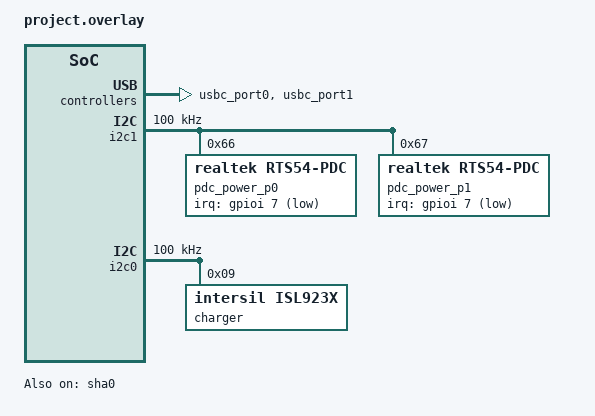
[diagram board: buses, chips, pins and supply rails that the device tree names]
/* Copyright 2025 The ChromiumOS Authors
 * Use of this source code is governed by a BSD-style license that can be
 * found in the LICENSE file.
 */

 #include <cros/cbi_flash.dtsi>
 #include <usbc-policy.dtsi>
 #include "binman.dtsi"

/ {
	aliases {
		gpio-wp = &ec_wp_l;
	};

	named-gpios {
		compatible = "named-gpios";

		ec_wp_l: write-protect {
			gpios = <&gpioa 0 GPIO_INPUT>;
		};
		/* unimplemented GPIOs */
		entering-rw {
			enum-name = "GPIO_ENTERING_RW";
		};

		gpio_acok_ec_od: ac_present {
			/* AC_IN_SW/STD_ADPT_CNTL_GPIO_R */
			gpios = <&gpioe 5 GPIO_INPUT>;
			enum-name = "GPIO_AC_PRESENT";
		};
	};

	gpio_interrupts: gpio-interrupts {
		compatible = "cros-ec,gpio-interrupts";

		int_ac_present: ac_present {
			irq-pin = <&gpio_acok_ec_od>;
			flags = <GPIO_INT_EDGE_BOTH>;
			handler = "extpower_interrupt";
		};
	};

	named-i2c-ports {
		compatible = "named-i2c-ports";

		i2c_ec_i2c_charger: ec_i2c_charger {
			i2c-port = <&i2c0>;
			enum-names = "I2C_PORT_BATTERY";
		};

		i2c_ec_i2c_pd_prog: ec_i2c_pd_prog {
			i2c-port = <&i2c1>;
			enum-names = "I2C_PORT_PD";
		};
	};

	usbc {
		#address-cells = <1>;
		#size-cells = <0>;
		usbc_port0: port0@0 {
			compatible = "named-usbc-port";
			reg = <0>;
			chg = <&charger>;
			pdc = <&pdc_power_p0>;
			policy = <&cros_policy>;
		};
		usbc_port1: port1@1 {
			compatible = "named-usbc-port";
			reg = <1>;
			pdc = <&pdc_power_p1>;
			policy = <&cros_policy>;
		};
	};

        batteries {
                default_battery: lgc_ap18c8k {
                        compatible = "lgc,ap18c8k", "battery-smart";
                };
        };
};

&sha0 {
	status = "okay";
};

&i2c1 {
	status = "okay";
	clock-frequency = <I2C_BITRATE_STANDARD>;
	pinctrl-0 = < &i2c1_clk_gpc1_default &i2c1_data_gpc2_default >;
	pinctrl-names = "default";
	label = "pd_port";

	pdc_power_p0: rts54-pdc@66 {
		compatible = "realtek,rts54-pdc";
		reg = <0x66>;
		/* GPI7 = BAT_DET pin also available on header J11 pin 1 */
		irq-gpios = <&gpioi 7 GPIO_ACTIVE_LOW>;
	};
	pdc_power_p1: rts54-pdc@67 {
		compatible = "realtek,rts54-pdc";
		reg = <0x67>;
		irq-gpios = <&gpioi 7 GPIO_ACTIVE_LOW>;
		no-fw-update;
	};
};

&i2c0 {
	status = "okay";
	clock-frequency = <I2C_BITRATE_STANDARD>;
	pinctrl-0 = < &i2c0_clk_gpb3_default &i2c0_data_gpb4_default >;
	pinctrl-names = "default";
	charger: isl9238@9 {
		compatible = "intersil,isl923x";
		status = "okay";
		reg = <0x9>;
	};
};
